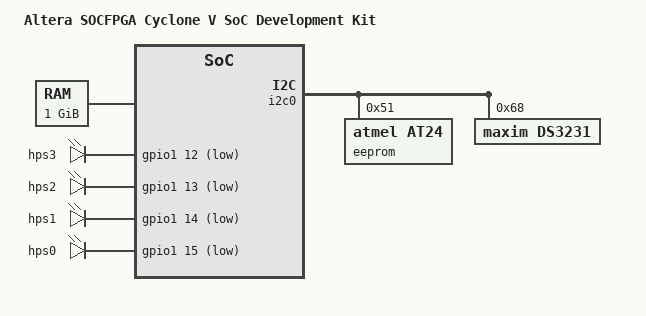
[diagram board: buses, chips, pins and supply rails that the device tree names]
/*
 * SPDX-License-Identifier: Apache-2.0
 * Copyright (C) 2021, Intel Corporation
 * Description:
 * Main Device Tree source of the Cyclone V SoC DevKit
 * this file is based on the GSRD DTS for Linux
 */

#include "intel_socfpga_std/socfpga_cyclone5.dtsi"
#include <zephyr/dt-bindings/gpio/gpio.h>

/ {
	model = "Altera SOCFPGA Cyclone V SoC Development Kit";
	compatible = "altr,socfpga-cyclone5-socdk", "altr,socfpga-cyclone5", "altr,socfpga";

	ddr0: memory@0 {
		name = "memory";
		device_type = "memory";
		reg = <0x0 0x40000000>; /* 1GB */
	};

	aliases {
	/* Giving different names to the LEDs connected to the HPS side of the chip */
		led0 = &hps0;
		led1 = &hps1;
		led2 = &hps2;
		led3 = &hps3;
		eeprom-0 = &eeprom;
	};

	leds {
		compatible = "gpio-leds";
		hps3: hps_led_3 {
			gpios = <&gpio1 12 GPIO_ACTIVE_LOW>;
		};
		hps2: hps_led_2 {
			gpios = <&gpio1 13 GPIO_ACTIVE_LOW>;
		};
		hps1: hps_led_1 {
			gpios = <&gpio1 14 GPIO_ACTIVE_LOW>;
		};
		hps0: hps_led_0 {
			gpios = <&gpio1 15 GPIO_ACTIVE_LOW>;
		};
	};

	soc {
		gpio0: gpio@ff708000 {
			status = "okay";
		};
		gpio1: gpio@ff709000 {
			status = "okay";
		};
		gpio2: gpio@ff70a000 {
			status = "okay";
		};

		i2c0: i2c@ffc04000 {
			status = "okay";

			eeprom: eeprom@51 {
				compatible = "atmel,at24";
				status = "okay";
				reg = <0x51>;
				size = <4096>;
				address-width = <8>;
				timeout = <25>;
				pagesize = <32>;
			};

			ds3231: rtc@68 {
				compatible = "maxim,ds3231";
				reg = <0x68>;
			};
		};
	};

	/* Configuring Zephyr mandatory devices */
	chosen {
		zephyr,sram	   = &ddr0;
		/*zephyr,flash	= &flash0;*/
		zephyr,console	= &uart0;
		zephyr,shell-uart = &uart0;
		zephyr,ocm		= &ocram;
	};
};
